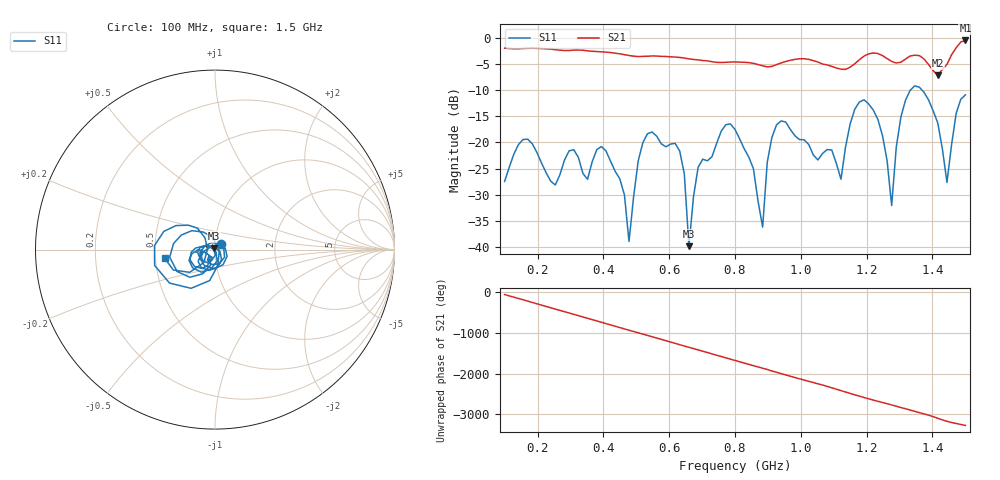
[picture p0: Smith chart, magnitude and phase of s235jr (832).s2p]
! NanoVNA-App
! Date: 2025-09-25 15:10:39
! Start: 100MHz Stop: 1,5GHz Points: 101
! S-Parameter data: F S11 S21 S12 S22
# Hz S RI R 50
!  Frequency  S11_Real  S11_Imag  S21_Real  S21_Imag  S12_Real  S12_Imag  S22_Real  S22_Imag
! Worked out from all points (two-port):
!   101 points, 100 MHz to 1.5 GHz, reference 50 ohm
!   highest |S21| = -0.49 dB at 1.5 GHz (marker M1); lowest = -7.2 dB at 1.416 GHz (marker M2)
!   |S21| within 3 dB of the highest: start of sweep to 491.4 MHz; 1.192 GHz to 1.251 GHz (58.76 MHz wide, 4.81 % of centre) (the widest 2 of 5)
!   lowest |S11| = -39.8 dB at 660 MHz (marker M3), VSWR 1.02, Z = 49.2 + j0.649 ohm
!   |S11| at or under -10 dB: start of sweep to 1.333 GHz; 1.368 GHz to end of sweep
!   S12 and S22 are empty: the file has one direction only
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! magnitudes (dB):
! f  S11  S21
! 100 MHz  -27.5  -2.0
! 156 MHz  -19.4  -2.0
! 338 MHz  -25.9  -2.4
! 408 MHz  -21.6  -2.7
! 478 MHz  -38.9  -3.4
! 520 MHz  -20.1  -3.5
! 576 MHz  -20.3  -3.5
! 632 MHz  -21.7  -3.7
! 660 MHz  -39.8  -4.0
! 688 MHz  -24.7  -4.2
! 800 MHz  -17.5  -4.6
! 884 MHz  -36.2  -5.3
! 926 MHz  -16.7  -5.1
! 1.038 GHz  -22.4  -4.4
! 1.122 GHz  -27.0  -6.0
! 1.192 GHz  -11.8  -3.5
! 1.248 GHz  -18.7  -3.4
! 1.276 GHz  -32.1  -4.5
! 1.332 GHz  -10.0  -3.5
! 1.416 GHz  -16.3  -7.2
! 1.444 GHz  -27.7  -5.1
! 1.5 GHz  -10.9  -0.5
